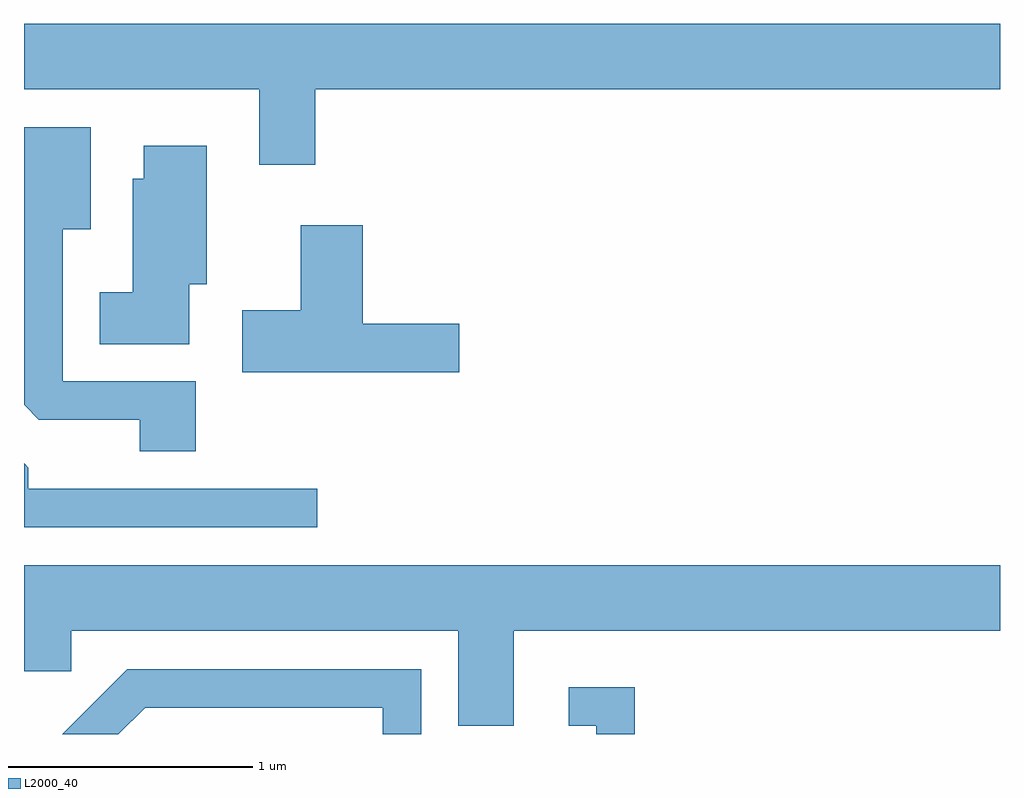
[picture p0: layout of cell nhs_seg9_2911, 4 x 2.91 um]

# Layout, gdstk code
import gdstk
lib = gdstk.Library(unit=1e-6, precision=1e-09)
def P(c, l, *ps):  # polygons
    for p in ps: c.add(gdstk.Polygon(p, *l))
L2000_40 = (2000, 40)

nhs_seg9_2911 = lib.new_cell('nhs_seg9_2911')
P(nhs_seg9_2911, L2000_40, [(270.804,2065.076),(273.611,2065.076),(273.611,2065.344),(269.611,2065.344),(269.611,2065.076),(270.576,2065.076),(270.576,2064.766),(270.804,2064.766)],
  [(270.314,2063.879),(269.769,2063.879),(269.769,2064.501),(269.884,2064.501),(269.884,2064.919),(269.611,2064.919),(269.611,2063.782),(269.672,2063.721),(270.086,2063.721),(270.086,2063.591),(270.314,2063.591)],
  [(270.289,2064.276),(270.359,2064.276),(270.359,2064.844),(270.101,2064.844),(270.101,2064.709),(270.056,2064.709),(270.056,2064.244),(269.921,2064.244),(269.921,2064.031),(270.289,2064.031)],
  [(271.394,2064.114),(270.999,2064.114),(270.999,2064.519),(270.746,2064.519),(270.746,2064.169),(270.506,2064.169),(270.506,2063.916),(271.394,2063.916)],
  [(270.813,2063.439),(269.629,2063.439),(269.629,2063.524),(269.611,2063.542),(269.611,2063.281),(270.813,2063.281)],
  [(271.619,2062.856),(273.611,2062.856),(273.611,2063.124),(269.611,2063.124),(269.611,2062.691),(269.804,2062.691),(269.804,2062.856),(271.391,2062.856),(271.391,2062.466),(271.619,2062.466)],
  [(270.107,2062.541),(271.081,2062.541),(271.081,2062.432),(271.239,2062.432),(271.239,2062.699),(270.034,2062.699),(269.767,2062.432),(269.997,2062.432)],
  [(272.114,2062.624),(271.843,2062.624),(271.843,2062.466),(271.956,2062.466),(271.956,2062.432),(272.114,2062.432)])

lib.write_gds('nhs_seg9_2911.gds')
